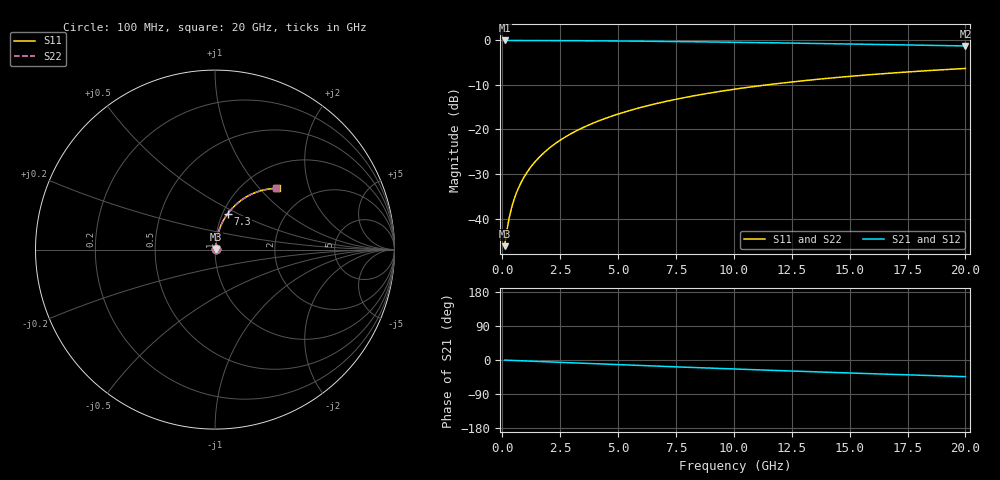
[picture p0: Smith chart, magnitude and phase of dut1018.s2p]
! Touchstone file exported from HFSS 2026.1.0
!  File:  C:/ffzhzh/LocalFiles/Ansys_Project_Files/temp_train_BSMRDL_1018_1783173384_18472.aedt
!  Generated:  09:57:46 PM Jul  4, 2026
!  Design:  BSMRDL
!  Project:  temp_train_BSMRDL_1018_1783173384_18472
! Variables:
!  h_bsmrdl = 3.18um
!  h_ox = 20um
!  h_rdl = 5um
!  h_sub = 80um
!  h_tmrdl = 5um
!  h_tsv = 80um
!  h_via = 3um
!  l_bsmrdl = 569.03um
!  l_sub = 969.03um
!  l_tmrdl = 200um
!  m_sub = 200um
!  pitch = 58.8um
!  r_tsv = 6um
!  s_tmrdl = 10um
!  w_bsmrdl = 17.83um
!  w_sub = 500um
!  w_tmrdl = 12um
!  x_tsv_center1 = 206um
!  x_tsv_center2 = 792.86um
!  x_tsv_center3 = 1004.86um
!  x_tsv_center4 = 1591.72um
!  x_tsv_center5 = 1803.72um
!  x_tsv_center6 = 2390.58um
# GHz S MA R 50.000000
! Terminal data exported
! Port[1] = BSM_RDL1_1_T1
! Port[2] = BSM_RDL1_1_T2
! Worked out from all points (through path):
!   200 points, 100 MHz to 20 GHz, reference 50 ohm
!   highest |S21| = -0.03 dB at 100 MHz (marker M1); lowest = -1.3 dB at 20 GHz (marker M2)
!   group delay of S21, straight-line fit = 6.11 ps
!   lowest |S11| = -46.2 dB at 100 MHz (marker M3), VSWR 1.01, Z = 50.4 + j0.321 ohm
!   |S11| at or under -10 dB: start of sweep to 11.42 GHz
!   |S22| runs from -46.2 to -6.3 dB; largest |S21 - S12| = 2.1e-15
!   S11 on the Smith chart (normalised r, x): 100 MHz: 1.01, +0.01; 7.3 GHz: 1.06, +0.44; 20 GHz: 1.40, +1.24
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0.1  0.004899 40.6  0.9963 -0.3  0.9963 -0.3  0.004899 40.6
! Gamma 0 0 0 0
! Port Impedance 50 0 50 0
0.2  0.007415 58.7  0.9962 -0.5  0.9962 -0.5  0.007415 58.7
0.3  0.01026 66.9  0.996 -0.8  0.996 -0.8  0.01026 66.9
0.4  0.01319 71.3  0.9959 -1.0  0.9959 -1.0  0.01319 71.3
0.5  0.01615 73.9  0.9958 -1.3  0.9958 -1.3  0.01615 73.9
0.6  0.01911 75.8  0.9956 -1.5  0.9956 -1.5  0.01911 75.8
0.8  0.02504 78.0  0.9954 -2.0  0.9954 -2.0  0.02504 78.0
1.1  0.03397 79.7  0.995 -2.7  0.995 -2.7  0.03397 79.7
1.5  0.04591 80.5  0.9944 -3.7  0.9944 -3.7  0.04591 80.5
1.8  0.05487 80.6  0.9938 -4.4  0.9938 -4.4  0.05487 80.6
2.1  0.06383 80.5  0.9932 -5.2  0.9932 -5.2  0.06383 80.5
2.7  0.08169 79.9  0.9917 -6.6  0.9917 -6.6  0.08169 79.9
3.5  0.1053 78.5  0.9892 -8.6  0.9892 -8.6  0.1053 78.5
4.2  0.1257 77.2  0.9865 -10.3  0.9865 -10.3  0.1257 77.2
5  0.1488 75.5  0.9829 -12.2  0.9829 -12.2  0.1488 75.5
6.8  0.199 71.6  0.9732 -16.4  0.9732 -16.4  0.199 71.6
7.3  0.2125 70.5  0.9701 -17.6  0.9701 -17.6  0.2125 70.5
8.6  0.2468 67.6  0.9614 -20.6  0.9614 -20.6  0.2468 67.6
10.1  0.2846 64.4  0.9503 -23.9  0.9503 -23.9  0.2846 64.4
13.4  0.3606 57.5  0.9232 -31.0  0.9232 -31.0  0.3606 57.5
16.7  0.4269 51.0  0.8941 -37.7  0.8941 -37.7  0.4269 51.0
20  0.4834 44.9  0.8648 -43.9  0.8648 -43.9  0.4834 44.9
